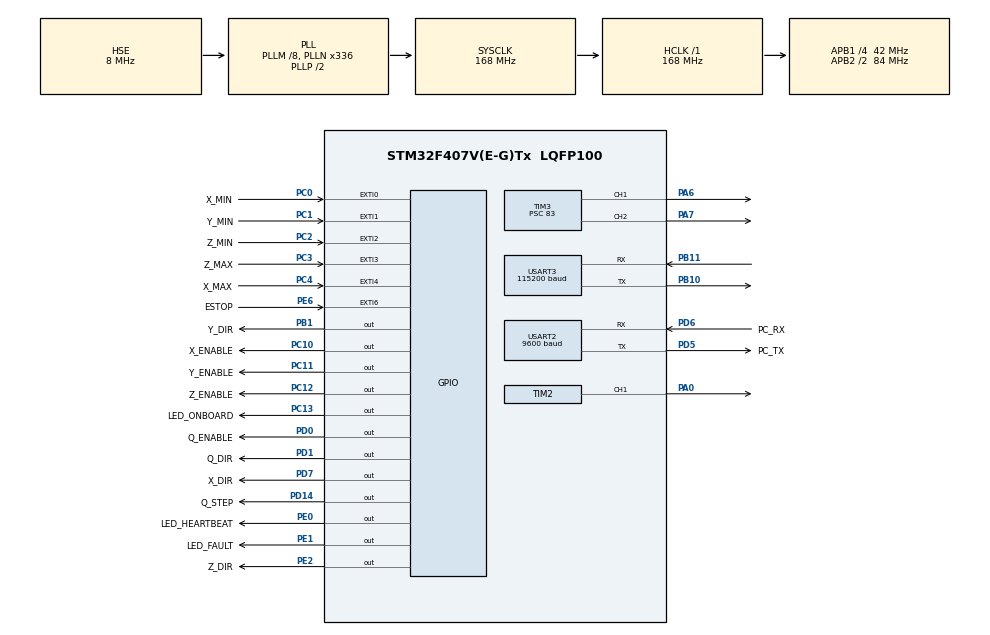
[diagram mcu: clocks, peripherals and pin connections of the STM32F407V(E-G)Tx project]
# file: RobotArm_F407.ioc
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Dma.Request0=TIM3_CH4/UP
Dma.Request1=USART2_RX
Dma.Request2=TIM2_UP/CH4
Dma.Request3=USART3_RX
Dma.TIM2_UP/CH4.2.Direction=DMA_MEMORY_TO_PERIPH
Dma.TIM2_UP/CH4.2.FIFOMode=DMA_FIFOMODE_DISABLE
Dma.TIM2_UP/CH4.2.Instance=DMA1_Stream7
Dma.TIM2_UP/CH4.2.MemDataAlignment=DMA_MDATAALIGN_HALFWORD
Dma.TIM2_UP/CH4.2.MemInc=DMA_MINC_ENABLE
Dma.TIM2_UP/CH4.2.Mode=DMA_NORMAL
Dma.TIM2_UP/CH4.2.PeriphDataAlignment=DMA_PDATAALIGN_HALFWORD
Dma.TIM2_UP/CH4.2.PeriphInc=DMA_PINC_DISABLE
Dma.TIM2_UP/CH4.2.Priority=DMA_PRIORITY_VERY_HIGH
Dma.TIM3_CH4/UP.0.Direction=DMA_MEMORY_TO_PERIPH
Dma.TIM3_CH4/UP.0.FIFOMode=DMA_FIFOMODE_DISABLE
Dma.TIM3_CH4/UP.0.Instance=DMA1_Stream2
Dma.TIM3_CH4/UP.0.MemDataAlignment=DMA_MDATAALIGN_HALFWORD
Dma.TIM3_CH4/UP.0.MemInc=DMA_MINC_ENABLE
Dma.TIM3_CH4/UP.0.Mode=DMA_NORMAL
Dma.TIM3_CH4/UP.0.PeriphDataAlignment=DMA_PDATAALIGN_HALFWORD
Dma.TIM3_CH4/UP.0.PeriphInc=DMA_PINC_DISABLE
Dma.TIM3_CH4/UP.0.Priority=DMA_PRIORITY_VERY_HIGH
Dma.USART2_RX.1.Direction=DMA_PERIPH_TO_MEMORY
Dma.USART2_RX.1.FIFOMode=DMA_FIFOMODE_DISABLE
Dma.USART2_RX.1.Instance=DMA1_Stream5
Dma.USART2_RX.1.MemDataAlignment=DMA_MDATAALIGN_BYTE
Dma.USART2_RX.1.MemInc=DMA_MINC_ENABLE
Dma.USART2_RX.1.Mode=DMA_CIRCULAR
Dma.USART2_RX.1.PeriphDataAlignment=DMA_PDATAALIGN_BYTE
Dma.USART2_RX.1.PeriphInc=DMA_PINC_DISABLE
Dma.USART2_RX.1.Priority=DMA_PRIORITY_HIGH
Dma.USART3_RX.3.Direction=DMA_PERIPH_TO_MEMORY
Dma.USART3_RX.3.FIFOMode=DMA_FIFOMODE_DISABLE
Dma.USART3_RX.3.Instance=DMA1_Stream1
Dma.USART3_RX.3.MemDataAlignment=DMA_MDATAALIGN_BYTE
Dma.USART3_RX.3.MemInc=DMA_MINC_ENABLE
Dma.USART3_RX.3.Mode=DMA_CIRCULAR
Dma.USART3_RX.3.PeriphDataAlignment=DMA_PDATAALIGN_BYTE
Dma.USART3_RX.3.PeriphInc=DMA_PINC_DISABLE
Dma.USART3_RX.3.Priority=DMA_PRIORITY_MEDIUM
FREERTOS.Tasks01=defaultTask,24,128,StartDefaultTask,Default,NULL,Dynamic,NULL,NULL
FREERTOS.configCHECK_FOR_STACK_OVERFLOW=2
FREERTOS.configTOTAL_HEAP_SIZE=20480
Mcu.Family=STM32F4
Mcu.Name=STM32F407V(E-G)Tx
Mcu.Package=LQFP100
NVIC.DMA1_Stream1_IRQn=true\:7\:0\:true\:false\:true\:true\:false\:true\:true
NVIC.DMA1_Stream2_IRQn=true\:5\:0\:false\:false\:true\:true\:false\:true\:true
NVIC.DMA1_Stream5_IRQn=true\:6\:0\:true\:false\:true\:true\:false\:true\:true
NVIC.DMA1_Stream7_IRQn=true\:5\:0\:false\:false\:true\:true\:false\:true\:true
NVIC.EXTI0_IRQn=true\:7\:0\:true\:false\:true\:true\:true\:true\:true
NVIC.EXTI1_IRQn=true\:7\:0\:true\:false\:true\:true\:true\:true\:true
NVIC.EXTI2_IRQn=true\:7\:0\:true\:false\:true\:true\:true\:true\:true
NVIC.EXTI3_IRQn=true\:7\:0\:true\:false\:true\:true\:true\:true\:true
NVIC.EXTI4_IRQn=true\:7\:0\:true\:false\:true\:true\:true\:true\:true
NVIC.EXTI9_5_IRQn=true\:7\:0\:true\:false\:true\:true\:true\:true\:true
NVIC.PriorityGroup=NVIC_PRIORITYGROUP_4
NVIC.TIM2_IRQn=true\:5\:0\:true\:false\:true\:true\:true\:true\:true
NVIC.TIM3_IRQn=true\:5\:0\:true\:false\:true\:true\:true\:true\:true
NVIC.TIM6_DAC_IRQn=true\:15\:0\:true\:false\:true\:false\:true\:true\:true
NVIC.TimeBase=TIM6_DAC_IRQn
NVIC.TimeBaseIP=TIM6
NVIC.USART2_IRQn=true\:6\:0\:true\:false\:true\:true\:true\:true\:true
NVIC.USART3_IRQn=true\:7\:0\:true\:false\:true\:true\:true\:true\:true
PA0-WKUP.GPIO_Speed=GPIO_SPEED_FREQ_VERY_HIGH
PA0-WKUP.Signal=S_TIM2_CH1_ETR
PA13.Mode=Serial_Wire
PA13.Signal=SYS_JTMS-SWDIO
PA14.Mode=Serial_Wire
PA14.Signal=SYS_JTCK-SWCLK
PA6.GPIO_Speed=GPIO_SPEED_FREQ_VERY_HIGH
PA6.Signal=S_TIM3_CH1
PA7.GPIO_Speed=GPIO_SPEED_FREQ_VERY_HIGH
PA7.Signal=S_TIM3_CH2
PB1.GPIO_Label=Y_DIR
PB1.Signal=GPIO_Output
PB10.Mode=Asynchronous
PB10.Signal=USART3_TX
PB11.Mode=Asynchronous
PB11.Signal=USART3_RX
PC0.GPIO_Label=X_MIN
PC0.GPIO_ModeDefaultEXTI=GPIO_MODE_IT_RISING_FALLING
PC0.GPIO_PuPd=GPIO_PULLUP
PC0.Signal=GPXTI0
PC1.GPIO_Label=Y_MIN
PC1.GPIO_ModeDefaultEXTI=GPIO_MODE_IT_RISING_FALLING
PC1.GPIO_PuPd=GPIO_PULLUP
PC1.Signal=GPXTI1
PC10.GPIO_Label=X_ENABLE
PC10.GPIO_OutputLevel=GPIO_PIN_SET
PC10.Signal=GPIO_Output
PC11.GPIO_Label=Y_ENABLE
PC11.GPIO_OutputLevel=GPIO_PIN_SET
PC11.Signal=GPIO_Output
PC12.GPIO_Label=Z_ENABLE
PC12.GPIO_OutputLevel=GPIO_PIN_SET
PC12.Signal=GPIO_Output
PC13-ANTI_TAMP.GPIO_Label=LED_ONBOARD
PC13-ANTI_TAMP.Signal=GPIO_Output
PC14-OSC32_IN.Mode=LSE-External-Oscillator
PC14-OSC32_IN.Signal=RCC_OSC32_IN
PC15-OSC32_OUT.Mode=LSE-External-Oscillator
PC15-OSC32_OUT.Signal=RCC_OSC32_OUT
PC2.GPIO_Label=Z_MIN
PC2.GPIO_ModeDefaultEXTI=GPIO_MODE_IT_RISING_FALLING
PC2.GPIO_PuPd=GPIO_PULLUP
PC2.Signal=GPXTI2
PC3.GPIO_Label=Z_MAX
PC3.GPIO_ModeDefaultEXTI=GPIO_MODE_IT_RISING_FALLING
PC3.GPIO_PuPd=GPIO_PULLUP
PC3.Signal=GPXTI3
PC4.GPIO_Label=X_MAX
PC4.GPIO_ModeDefaultEXTI=GPIO_MODE_IT_RISING_FALLING
PC4.GPIO_PuPd=GPIO_PULLUP
PC4.Signal=GPXTI4
PD0.GPIO_Label=Q_ENABLE
PD0.GPIO_OutputLevel=GPIO_PIN_SET
PD0.Signal=GPIO_Output
PD1.GPIO_Label=Q_DIR
PD1.Signal=GPIO_Output
PD14.GPIO_Label=Q_STEP
PD14.Signal=GPIO_Output
PD5.GPIO_Label=PC_TX
PD5.Mode=Asynchronous
PD5.Signal=USART2_TX
PD6.GPIO_Label=PC_RX
PD6.Mode=Asynchronous
PD6.Signal=USART2_RX
PD7.GPIO_Label=X_DIR
PD7.Signal=GPIO_Output
PE0.GPIO_Label=LED_HEARTBEAT
PE0.Signal=GPIO_Output
PE1.GPIO_Label=LED_FAULT
PE1.Signal=GPIO_Output
PE2.GPIO_Label=Z_DIR
PE2.Signal=GPIO_Output
PE6.GPIO_Label=ESTOP
PE6.GPIO_ModeDefaultEXTI=GPIO_MODE_IT_FALLING
PE6.GPIO_PuPd=GPIO_PULLUP
PE6.Signal=GPXTI6
PH0-OSC_IN.Mode=HSE-External-Oscillator
PH0-OSC_IN.Signal=RCC_OSC_IN
PH1-OSC_OUT.Mode=HSE-External-Oscillator
PH1-OSC_OUT.Signal=RCC_OSC_OUT
ProjectManager.HeapSize=0x200
ProjectManager.StackSize=0x400
ProjectManager.TargetToolchain=STM32CubeIDE
RCC.AHBFreq_Value=168000000
RCC.APB1CLKDivider=RCC_HCLK_DIV4
RCC.APB1Freq_Value=42000000
RCC.APB1TimFreq_Value=84000000
RCC.APB2CLKDivider=RCC_HCLK_DIV2
RCC.APB2Freq_Value=84000000
RCC.APB2TimFreq_Value=168000000
RCC.BorLevel=RCC_BOR_LEVEL_2
RCC.CortexFreq_Value=168000000
RCC.HCLKFreq_Value=168000000
RCC.HPRE=RCC_HCLK_DIV1
RCC.HSE_VALUE=8000000
RCC.HSI_VALUE=16000000
RCC.LSEDriveCapacity=RCC_LSEDRIVE_LOW
RCC.MCO1PinMux=RCC_MCO1SOURCE_NOCLOCK
RCC.PLLM=8
RCC.PLLN=336
RCC.PLLP=RCC_PLLP_DIV2
RCC.PLLQ=7
RCC.PLLSourceVirtual=RCC_PLLSOURCE_HSE
RCC.RTCPrescaler_Value=RCC_RTCPRESCALER_1
RCC.SYSCLKFreq_VALUE=168000000
RCC.SYSCLKSource=RCC_SYSCLKSOURCE_PLLCLK
RCC.USBFreq_Value=48000000
RCC.VCOOutputFreq_Value=336000000
SH.S_TIM2_CH1_ETR.0=TIM2_CH1,PWM Generation1 CH1
SH.S_TIM3_CH1.0=TIM3_CH1,PWM Generation1 CH1
SH.S_TIM3_CH2.0=TIM3_CH2,PWM Generation2 CH2
TIM2.AutoReloadPreload=TIM_AUTORELOAD_PRELOAD_ENABLE
TIM2.Channel-PWM\ Generation1\ CH1=TIM_CHANNEL_1
TIM2.Period=29
TIM2.Prescaler=83
TIM2.Pulse-PWM\ Generation1\ CH1=6
TIM2.TIM_MasterOutputTrigger=TIM_TRGO_UPDATE
TIM3.AutoReloadPreload=TIM_AUTORELOAD_PRELOAD_ENABLE
TIM3.Channel-PWM\ Generation1\ CH1=TIM_CHANNEL_1
TIM3.Channel-PWM\ Generation2\ CH2=TIM_CHANNEL_2
TIM3.Period=29
TIM3.Prescaler=83
TIM3.Pulse-PWM\ Generation1\ CH1=6
TIM3.Pulse-PWM\ Generation2\ CH2=6
TIM3.TIM_MasterOutputTrigger=TIM_TRGO_UPDATE
USART2.BaudRate=9600
USART2.VirtualMode=VM_ASYNC
USART3.BaudRate=115200
USART3.VirtualMode=VM_ASYNC
VP_FREERTOS_VS_CMSIS_V2.Mode=CMSIS_V2
VP_SYS_VS_tim6.Mode=TIM6
VP_TIM2_VS_ClockSourceINT.Mode=Internal
VP_TIM3_VS_ClockSourceINT.Mode=Internal
board=custom

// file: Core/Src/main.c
/* USER CODE BEGIN Header */
/**
  ******************************************************************************
  * @file           : main.c
  * @brief          : Main program body
  ******************************************************************************
  * @attention
  *
  * Copyright (c) 2026 STMicroelectronics.
  * All rights reserved.
  *
  * This software is licensed under terms that can be found in the LICENSE file
  * in the root directory of this software component.
  * If no LICENSE file comes with this software, it is provided AS-IS.
  *
  ******************************************************************************
  */
/* USER CODE END Header */
#include "main.h"
#include "cmsis_os.h"

/* USER CODE BEGIN Includes */
#include "arm_config.h"
#include "arm_board.h"
#include "arm_us.h"
#include "arm_uart.h"
#include "arm_stepper.h"
#include "arm_limits.h"
#include "arm_app.h"
#include "arm_interpolation.h"
#include "arm_command.h"
#include "arm_fault.h"
/* USER CODE END Includes */

TIM_HandleTypeDef htim2;
TIM_HandleTypeDef htim3;
DMA_HandleTypeDef hdma_tim2_up_ch4;
DMA_HandleTypeDef hdma_tim3_ch4_up;

UART_HandleTypeDef huart2;
UART_HandleTypeDef huart3;
DMA_HandleTypeDef hdma_usart2_rx;
DMA_HandleTypeDef hdma_usart3_rx;

/* Definitions for defaultTask */
osThreadId_t defaultTaskHandle;
const osThreadAttr_t defaultTask_attributes = {
  .name = "defaultTask",
  .stack_size = 512 * 4,
  .priority = (osPriority_t) osPriorityNormal,
};
/* USER CODE BEGIN PV */
/* defaultTask is created by the generated call in main() and its body is
   StartDefaultTask(), which forwards to arm_app_run_default_task().  Nothing
   to add here.

   WARNING - hand edited, outside a USER CODE block:
     defaultTask_attributes.stack_size above was raised from "128 * 4" to
     "512 * 4".  512 bytes was not enough for arm_uart_debugf() (a 128 byte
     buffer plus vsnprintf), the stack ran off the bottom of ucHeap and
     overwrote xTickCount, which froze the scheduler with interrupts masked.
     GENERATE CODE will put "128 * 4" back: change it again if that happens. */
/* USER CODE END PV */

void SystemClock_Config(void);
static void MX_GPIO_Init(void);
static void MX_DMA_Init(void);
static void MX_TIM3_Init(void);
static void MX_USART2_UART_Init(void);
static void MX_TIM2_Init(void);
static void MX_USART3_UART_Init(void);
void StartDefaultTask(void *argument);

int main(void)
{

  /* USER CODE BEGIN 1 */

  /* Count this boot and clear the crash record.  Placed before HAL_Init() so
     that a fault in the clock or peripheral bring up is still attributable:
     the boot counter bumps but the stage stays 0. */
  arm_fault_boot();

  /* USER CODE END 1 */

  /* MCU Configuration--------------------------------------------------------*/

  /* Reset of all peripherals, Initializes the Flash interface and the Systick. */
  HAL_Init();

  /* Configure the system clock */
  SystemClock_Config();

  /* Initialize all configured peripherals */
  MX_GPIO_Init();
  MX_DMA_Init();
  MX_TIM3_Init();
  MX_USART2_UART_Init();
  MX_TIM2_Init();
  MX_USART3_UART_Init();
  /* USER CODE BEGIN 2 */

  /* ---------------------------------------------------------------------
     Robot arm start up.  Order matters:

       1. arm_board_init() corrects the four deviations between the generated
          CubeMX project and the frozen baseline in handover doc section 4
          (EN pin levels, EXTI edges, EXTI/USART2 priorities) and installs
          TIM5 as the microsecond time base.
       2. The step engine is configured and its DMA path is self tested.
       3. The logical step positions are set to the power-on pose
          (robotArm.ino:60-63) and the interpolator is anchored at
          (0,120,120) -> (0,120,120), an in place "move" that just settles the
          geometry, exactly like robotArm.ino:67.
     --------------------------------------------------------------------- */
  arm_board_init();
  arm_fault_mark(ARM_STAGE_BOARD_INIT);

  arm_stepper_init();
  arm_fault_mark(ARM_STAGE_STEPPER_INIT);
  arm_stepper_set_home_pose();
  arm_stepper_enable_all(false);
  arm_fault_mark(ARM_STAGE_HOME_POSE);

  arm_interp_set_position(ARM_BOOT_X_MM, ARM_BOOT_Y_MM, ARM_BOOT_Z_MM);
  arm_interp_start(ARM_BOOT_X_MM, ARM_BOOT_Y_MM, ARM_BOOT_Z_MM,
                   ARM_BOOT_X_MM, ARM_BOOT_Y_MM, ARM_BOOT_Z_MM, 0.0f);

  arm_limits_init();

  arm_fault_mark(ARM_STAGE_LIMITS_INIT);

  /* USER CODE END 2 */

  /* Init scheduler */
  osKernelInitialize();

  /* Create the thread(s) */
  /* creation of defaultTask */
  defaultTaskHandle = osThreadNew(StartDefaultTask, NULL, &defaultTask_attributes);

  /* USER CODE BEGIN RTOS_THREADS */
  /* add threads, ... */

  /* defaultTask itself is created by the generated call above; its body lives
     in StartDefaultTask()'s USER CODE block and forwards to
     arm_app_run_default_task().  Only the four worker tasks are created here. */

  arm_fault_mark(ARM_STAGE_UART_INIT);
  arm_uart_init();

  /* Queue the one-shot boot report on the debug UART.  It is buffered into the
     debug ring here and actually transmitted by CommandTask once the scheduler
     is running, because the ring is only drained from task context. */
  arm_board_boot_report();

  arm_app_init();
  arm_fault_mark(ARM_STAGE_APP_INIT_DONE);
  /* USER CODE END RTOS_THREADS */

  /* Start scheduler */
  osKernelStart();

  /* We should never get here as control is now taken by the scheduler */

  /* Infinite loop */
  while (1)
  {

  }
}

/* [学习标注] 时钟树：HSE 8 MHz → PLL(M=8,N=336,P=2,Q=7) → SYSCLK 168 MHz，Flash 5 等待周期。 */
void SystemClock_Config(void)
{
  RCC_OscInitTypeDef RCC_OscInitStruct = {0};
  RCC_ClkInitTypeDef RCC_ClkInitStruct = {0};

  /** Configure the main internal regulator output voltage
  */
  __HAL_RCC_PWR_CLK_ENABLE();
  __HAL_PWR_VOLTAGESCALING_CONFIG(PWR_REGULATOR_VOLTAGE_SCALE1);

  /** Initializes the RCC Oscillators according to the specified parameters
  * in the RCC_OscInitTypeDef structure.
  */
  RCC_OscInitStruct.OscillatorType = RCC_OSCILLATORTYPE_HSE;
  RCC_OscInitStruct.HSEState = RCC_HSE_ON;
  RCC_OscInitStruct.PLL.PLLState = RCC_PLL_ON;
  RCC_OscInitStruct.PLL.PLLSource = RCC_PLLSOURCE_HSE;
  RCC_OscInitStruct.PLL.PLLM = 8;
  RCC_OscInitStruct.PLL.PLLN = 336;
  RCC_OscInitStruct.PLL.PLLP = RCC_PLLP_DIV2;
  RCC_OscInitStruct.PLL.PLLQ = 7;
  if (HAL_RCC_OscConfig(&RCC_OscInitStruct) != HAL_OK)
  {
    Error_Handler();
  }

  /** Initializes the CPU, AHB and APB buses clocks
  */
  RCC_ClkInitStruct.ClockType = RCC_CLOCKTYPE_HCLK|RCC_CLOCKTYPE_SYSCLK
                              |RCC_CLOCKTYPE_PCLK1|RCC_CLOCKTYPE_PCLK2;
  RCC_ClkInitStruct.SYSCLKSource = RCC_SYSCLKSOURCE_PLLCLK;
  RCC_ClkInitStruct.AHBCLKDivider = RCC_SYSCLK_DIV1;
  RCC_ClkInitStruct.APB1CLKDivider = RCC_HCLK_DIV4;
  RCC_ClkInitStruct.APB2CLKDivider = RCC_HCLK_DIV2;

  if (HAL_RCC_ClockConfig(&RCC_ClkInitStruct, FLASH_LATENCY_5) != HAL_OK)
  {
    Error_Handler();
  }
}

/* [学习标注] CubeMX 生成：TIM2 PWM（旧脉冲引擎用）；现已由 arm_stepper_init() 显式关掉。 */
static void MX_TIM2_Init(void)
{

  TIM_ClockConfigTypeDef sClockSourceConfig = {0};
  TIM_MasterConfigTypeDef sMasterConfig = {0};
  TIM_OC_InitTypeDef sConfigOC = {0};

  htim2.Instance = TIM2;
  htim2.Init.Prescaler = 83;
  htim2.Init.CounterMode = TIM_COUNTERMODE_UP;
  htim2.Init.Period = 29;
  htim2.Init.ClockDivision = TIM_CLOCKDIVISION_DIV1;
  htim2.Init.AutoReloadPreload = TIM_AUTORELOAD_PRELOAD_ENABLE;
  if (HAL_TIM_Base_Init(&htim2) != HAL_OK)
  {
    Error_Handler();
  }
  sClockSourceConfig.ClockSource = TIM_CLOCKSOURCE_INTERNAL;
  if (HAL_TIM_ConfigClockSource(&htim2, &sClockSourceConfig) != HAL_OK)
  {
    Error_Handler();
  }
  if (HAL_TIM_PWM_Init(&htim2) != HAL_OK)
  {
    Error_Handler();
  }
  sMasterConfig.MasterOutputTrigger = TIM_TRGO_UPDATE;
  sMasterConfig.MasterSlaveMode = TIM_MASTERSLAVEMODE_DISABLE;
  if (HAL_TIMEx_MasterConfigSynchronization(&htim2, &sMasterConfig) != HAL_OK)
  {
    Error_Handler();
  }
  sConfigOC.OCMode = TIM_OCMODE_PWM1;
  sConfigOC.Pulse = 6;
  sConfigOC.OCPolarity = TIM_OCPOLARITY_HIGH;
  sConfigOC.OCFastMode = TIM_OCFAST_DISABLE;
  if (HAL_TIM_PWM_ConfigChannel(&htim2, &sConfigOC, TIM_CHANNEL_1) != HAL_OK)
  {
    Error_Handler();
  }
  HAL_TIM_MspPostInit(&htim2);

}

/* [学习标注] CubeMX 生成：TIM3 双通道 PWM（旧两臂共用）；现已由 arm_stepper_init() 显式关掉。 */
static void MX_TIM3_Init(void)
{

  TIM_ClockConfigTypeDef sClockSourceConfig = {0};
  TIM_MasterConfigTypeDef sMasterConfig = {0};
  TIM_OC_InitTypeDef sConfigOC = {0};

  htim3.Instance = TIM3;
  htim3.Init.Prescaler = 83;
  htim3.Init.CounterMode = TIM_COUNTERMODE_UP;
  htim3.Init.Period = 29;
  htim3.Init.ClockDivision = TIM_CLOCKDIVISION_DIV1;
  htim3.Init.AutoReloadPreload = TIM_AUTORELOAD_PRELOAD_ENABLE;
  if (HAL_TIM_Base_Init(&htim3) != HAL_OK)
  {
    Error_Handler();
  }
  sClockSourceConfig.ClockSource = TIM_CLOCKSOURCE_INTERNAL;
  if (HAL_TIM_ConfigClockSource(&htim3, &sClockSourceConfig) != HAL_OK)
  {
    Error_Handler();
  }
  if (HAL_TIM_PWM_Init(&htim3) != HAL_OK)
  {
    Error_Handler();
  }
  sMasterConfig.MasterOutputTrigger = TIM_TRGO_UPDATE;
  sMasterConfig.MasterSlaveMode = TIM_MASTERSLAVEMODE_DISABLE;
  if (HAL_TIMEx_MasterConfigSynchronization(&htim3, &sMasterConfig) != HAL_OK)
  {
    Error_Handler();
  }
  sConfigOC.OCMode = TIM_OCMODE_PWM1;
  sConfigOC.Pulse = 6;
  sConfigOC.OCPolarity = TIM_OCPOLARITY_HIGH;
  sConfigOC.OCFastMode = TIM_OCFAST_DISABLE;
  if (HAL_TIM_PWM_ConfigChannel(&htim3, &sConfigOC, TIM_CHANNEL_1) != HAL_OK)
  {
    Error_Handler();
  }
  if (HAL_TIM_PWM_ConfigChannel(&htim3, &sConfigOC, TIM_CHANNEL_2) != HAL_OK)
  {
    Error_Handler();
  }
  HAL_TIM_MspPostInit(&htim3);

}

/* [学习标注] USART2：9600 8N1（G-code 链路 / 本机 COM6）。 */
static void MX_USART2_UART_Init(void)
{

  huart2.Instance = USART2;
  huart2.Init.BaudRate = 9600;
  huart2.Init.WordLength = UART_WORDLENGTH_8B;
  huart2.Init.StopBits = UART_STOPBITS_1;
  huart2.Init.Parity = UART_PARITY_NONE;
  huart2.Init.Mode = UART_MODE_TX_RX;
  huart2.Init.HwFlowCtl = UART_HWCONTROL_NONE;
  huart2.Init.OverSampling = UART_OVERSAMPLING_16;
  if (HAL_UART_Init(&huart2) != HAL_OK)
  {
    Error_Handler();
  }

}

/* [学习标注] USART3：115200 8N1（调试链路 / 本机 COM7）。 */
static void MX_USART3_UART_Init(void)
{

  huart3.Instance = USART3;
  huart3.Init.BaudRate = 115200;
  huart3.Init.WordLength = UART_WORDLENGTH_8B;
  huart3.Init.StopBits = UART_STOPBITS_1;
  huart3.Init.Parity = UART_PARITY_NONE;
  huart3.Init.Mode = UART_MODE_TX_RX;
  huart3.Init.HwFlowCtl = UART_HWCONTROL_NONE;
  huart3.Init.OverSampling = UART_OVERSAMPLING_16;
  if (HAL_UART_Init(&huart3) != HAL_OK)
  {
    Error_Handler();
  }

}

/* [学习标注] 打开 DMA1 时钟并设 4 条流的 NVIC 优先级（S1=7、S2=5、S5=6、S7=5）。 */
static void MX_DMA_Init(void)
{

  /* DMA controller clock enable */
  __HAL_RCC_DMA1_CLK_ENABLE();

  /* DMA interrupt init */
  /* DMA1_Stream1_IRQn interrupt configuration */
  HAL_NVIC_SetPriority(DMA1_Stream1_IRQn, 7, 0);
  HAL_NVIC_EnableIRQ(DMA1_Stream1_IRQn);
  /* DMA1_Stream2_IRQn interrupt configuration */
  HAL_NVIC_SetPriority(DMA1_Stream2_IRQn, 5, 0);
  HAL_NVIC_EnableIRQ(DMA1_Stream2_IRQn);
  /* DMA1_Stream5_IRQn interrupt configuration */
  HAL_NVIC_SetPriority(DMA1_Stream5_IRQn, 6, 0);
  HAL_NVIC_EnableIRQ(DMA1_Stream5_IRQn);
  /* DMA1_Stream7_IRQn interrupt configuration */
  HAL_NVIC_SetPriority(DMA1_Stream7_IRQn, 5, 0);
  HAL_NVIC_EnableIRQ(DMA1_Stream7_IRQn);

}

/* [学习标注] 生成的全部 GPIO 初值与 EXTI 边沿/优先级；关键项随后由 arm_board_* 覆盖。 */
static void MX_GPIO_Init(void)
{
  GPIO_InitTypeDef GPIO_InitStruct = {0};

  /* GPIO Ports Clock Enable */
  __HAL_RCC_GPIOE_CLK_ENABLE();
  __HAL_RCC_GPIOC_CLK_ENABLE();
  __HAL_RCC_GPIOH_CLK_ENABLE();
  __HAL_RCC_GPIOA_CLK_ENABLE();
  __HAL_RCC_GPIOB_CLK_ENABLE();
  __HAL_RCC_GPIOD_CLK_ENABLE();

  /*Configure GPIO pin Output Level */
  HAL_GPIO_WritePin(GPIOE, Z_DIR_Pin|LED_HEARTBEAT_Pin|LED_FAULT_Pin, GPIO_PIN_RESET);

  /*Configure GPIO pin Output Level */
  HAL_GPIO_WritePin(GPIOC, LED_ONBOARD_Pin|X_ENABLE_Pin|Y_ENABLE_Pin|Z_ENABLE_Pin, GPIO_PIN_RESET);

  /*Configure GPIO pin Output Level */
  HAL_GPIO_WritePin(Y_DIR_GPIO_Port, Y_DIR_Pin, GPIO_PIN_RESET);

  /*Configure GPIO pin Output Level */
  HAL_GPIO_WritePin(GPIOD, Q_STEP_Pin|Q_ENABLE_Pin|Q_DIR_Pin|X_DIR_Pin, GPIO_PIN_RESET);

  /*Configure GPIO pins : Z_DIR_Pin LED_HEARTBEAT_Pin LED_FAULT_Pin */
  GPIO_InitStruct.Pin = Z_DIR_Pin|LED_HEARTBEAT_Pin|LED_FAULT_Pin;
  GPIO_InitStruct.Mode = GPIO_MODE_OUTPUT_PP;
  GPIO_InitStruct.Pull = GPIO_NOPULL;
  GPIO_InitStruct.Speed = GPIO_SPEED_FREQ_LOW;
  HAL_GPIO_Init(GPIOE, &GPIO_InitStruct);

  /*Configure GPIO pin : ESTOP_Pin */
  GPIO_InitStruct.Pin = ESTOP_Pin;
  GPIO_InitStruct.Mode = GPIO_MODE_IT_FALLING;
  GPIO_InitStruct.Pull = GPIO_PULLUP;
  HAL_GPIO_Init(ESTOP_GPIO_Port, &GPIO_InitStruct);

  /*Configure GPIO pins : LED_ONBOARD_Pin X_ENABLE_Pin Y_ENABLE_Pin Z_ENABLE_Pin */
  GPIO_InitStruct.Pin = LED_ONBOARD_Pin|X_ENABLE_Pin|Y_ENABLE_Pin|Z_ENABLE_Pin;
  GPIO_InitStruct.Mode = GPIO_MODE_OUTPUT_PP;
  GPIO_InitStruct.Pull = GPIO_NOPULL;
  GPIO_InitStruct.Speed = GPIO_SPEED_FREQ_LOW;
  HAL_GPIO_Init(GPIOC, &GPIO_InitStruct);

  /*Configure GPIO pins : X_MIN_Pin Y_MIN_Pin Z_MIN_Pin Z_MAX_Pin
                           X_MAX_Pin */
  GPIO_InitStruct.Pin = X_MIN_Pin|Y_MIN_Pin|Z_MIN_Pin|Z_MAX_Pin
                          |X_MAX_Pin;
  GPIO_InitStruct.Mode = GPIO_MODE_IT_RISING_FALLING;
  GPIO_InitStruct.Pull = GPIO_PULLUP;
  HAL_GPIO_Init(GPIOC, &GPIO_InitStruct);

  /*Configure GPIO pin : Y_DIR_Pin */
  GPIO_InitStruct.Pin = Y_DIR_Pin;
  GPIO_InitStruct.Mode = GPIO_MODE_OUTPUT_PP;
  GPIO_InitStruct.Pull = GPIO_NOPULL;
  GPIO_InitStruct.Speed = GPIO_SPEED_FREQ_LOW;
  HAL_GPIO_Init(Y_DIR_GPIO_Port, &GPIO_InitStruct);

  /*Configure GPIO pins : Q_STEP_Pin Q_ENABLE_Pin Q_DIR_Pin X_DIR_Pin */
  GPIO_InitStruct.Pin = Q_STEP_Pin|Q_ENABLE_Pin|Q_DIR_Pin|X_DIR_Pin;
  GPIO_InitStruct.Mode = GPIO_MODE_OUTPUT_PP;
  GPIO_InitStruct.Pull = GPIO_NOPULL;
  GPIO_InitStruct.Speed = GPIO_SPEED_FREQ_LOW;
  HAL_GPIO_Init(GPIOD, &GPIO_InitStruct);

  /* EXTI interrupt init*/
  HAL_NVIC_SetPriority(EXTI0_IRQn, 7, 0);
  HAL_NVIC_EnableIRQ(EXTI0_IRQn);

  HAL_NVIC_SetPriority(EXTI1_IRQn, 7, 0);
  HAL_NVIC_EnableIRQ(EXTI1_IRQn);

  HAL_NVIC_SetPriority(EXTI2_IRQn, 7, 0);
  HAL_NVIC_EnableIRQ(EXTI2_IRQn);

  HAL_NVIC_SetPriority(EXTI3_IRQn, 7, 0);
  HAL_NVIC_EnableIRQ(EXTI3_IRQn);

  HAL_NVIC_SetPriority(EXTI4_IRQn, 7, 0);
  HAL_NVIC_EnableIRQ(EXTI4_IRQn);

  HAL_NVIC_SetPriority(EXTI9_5_IRQn, 7, 0);
  HAL_NVIC_EnableIRQ(EXTI9_5_IRQn);

}

void StartDefaultTask(void *argument)
{
  /* USER CODE BEGIN 5 */
  /* The diagnostics task body lives inside this USER CODE block on purpose.
     It used to be created separately by arm_app_init() while the generated
     osThreadNew() call in main() was disabled, but GENERATE CODE restores that
     call, which produced two live tasks called "defaultTask".  Owning the body
     here instead means the generated creation path is the only one, and
     re-running CubeMX cannot break it again.

     Everything the loop needs stays encapsulated in arm_app.c; this function
     never returns. */
  arm_app_run_default_task();
  /* USER CODE END 5 */
}

void HAL_TIM_PeriodElapsedCallback(TIM_HandleTypeDef *htim)
{
  if (htim->Instance == TIM6)
  {
    HAL_IncTick();
  }
}

void Error_Handler(void)
{
  /* USER CODE BEGIN Error_Handler_Debug */
  /* A silent infinite loop is useless for field diagnosis: with no LED and no
     UART it is indistinguishable from a board with no power at all.
     This handler therefore drives a fast ~10 Hz blink on PC13 (on board LED)
     and PE0 (heartbeat LED) so the three states are always distinguishable:

       both LEDs dark, nothing blinking -> board not powered / not running
       PC13 + PE0 blinking at ~10 Hz    -> firmware reached Error_Handler
       PE0 alone blinking at 2 Hz       -> firmware is running normally

     The GPIO clocks are enabled here because Error_Handler() can be reached
     before MX_GPIO_Init(), for instance when the HSE crystal does not start or
     the PLL does not lock in SystemClock_Config(). */
  __disable_irq();

  __HAL_RCC_GPIOC_CLK_ENABLE();
  __HAL_RCC_GPIOE_CLK_ENABLE();

  {
    GPIO_InitTypeDef gpio = {0};

    gpio.Mode  = GPIO_MODE_OUTPUT_PP;
    gpio.Pull  = GPIO_NOPULL;
    gpio.Speed = GPIO_SPEED_FREQ_LOW;

    gpio.Pin = GPIO_PIN_13;                 /* PC13, on board LED   */
    HAL_GPIO_Init(GPIOC, &gpio);

    gpio.Pin = GPIO_PIN_0;                  /* PE0,  heartbeat LED  */
    HAL_GPIO_Init(GPIOE, &gpio);
  }

  for (;;)
  {
    HAL_GPIO_TogglePin(GPIOC, GPIO_PIN_13);
    HAL_GPIO_TogglePin(GPIOE, GPIO_PIN_0);

    for (volatile uint32_t spin = 0u; spin < 400000u; spin++)
    {
      __NOP();
    }
  }
  /* USER CODE END Error_Handler_Debug */
}

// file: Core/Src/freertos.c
/* USER CODE BEGIN Header */
/**
  ******************************************************************************
  * File Name          : freertos.c
  * Description        : Code for freertos applications
  ******************************************************************************
  * @attention
  *
  * Copyright (c) 2026 STMicroelectronics.
  * All rights reserved.
  *
  * This software is licensed under terms that can be found in the LICENSE file
  * in the root directory of this software component.
  * If no LICENSE file comes with this software, it is provided AS-IS.
  *
  ******************************************************************************
  */
/* USER CODE END Header */

#include "FreeRTOS.h"
#include "task.h"
#include "main.h"

/* Hook prototypes */
void vApplicationStackOverflowHook(xTaskHandle xTask, signed char *pcTaskName);

/* USER CODE BEGIN 4 */
/* [学习标注] FreeRTOS 栈溢出钩子：把任务名前 4 字节写进故障块并停机（空钩子会让溢出静默踩内存）。 */
void vApplicationStackOverflowHook(xTaskHandle xTask, signed char *pcTaskName)
{
   /* An empty hook is worse than useless: the overflowing task simply carries
      on with a wrecked stack, silently corrupting whatever lives below it in
      the FreeRTOS heap.  Record the task name in the crash block and stop. */
   extern void arm_fault_note_overflow(const char *task_name);

   (void)xTask;
   arm_fault_note_overflow((const char *)pcTaskName);
}
/* USER CODE END 4 */
